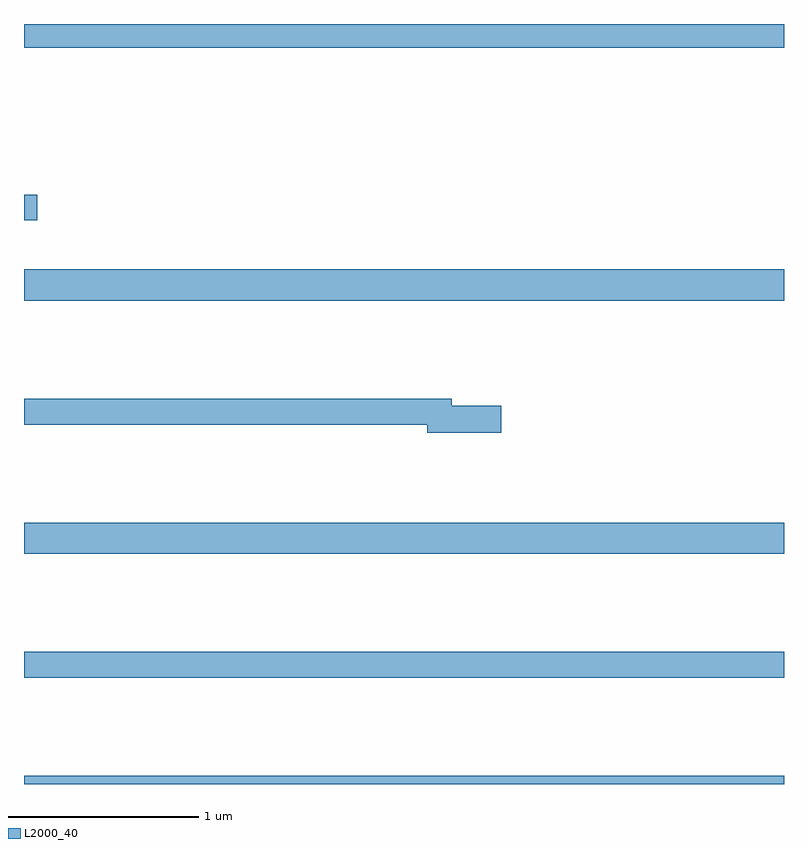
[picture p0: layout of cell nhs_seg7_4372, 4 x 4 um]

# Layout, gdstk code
import gdstk
lib = gdstk.Library(unit=1e-6, precision=1e-09)
def R(c, l, rs):  # rectangles x0, y0, x1, y1
    for r in rs: c.add(gdstk.rectangle(r[:2], r[2:], *l))
def P(c, l, *ps):  # polygons
    for p in ps: c.add(gdstk.Polygon(p, *l))
L2000_40 = (2000, 40)

nhs_seg7_4372 = lib.new_cell('nhs_seg7_4372')
R(nhs_seg7_4372, L2000_40, [(385,1070,389,1070.044), (385,1070.56,389,1070.696), (385,1071.212,389,1071.376), (385,1072.544,389,1072.708), (385,1072.967,385.069,1073.102), (385,1073.876,389,1074)])
P(nhs_seg7_4372, L2000_40, [(387.511,1071.992),(387.25,1071.992),(387.25,1072.028),(385,1072.028),(385,1071.892),(387.122,1071.892),(387.122,1071.85),(387.511,1071.85)])

lib.write_gds('nhs_seg7_4372.gds')
